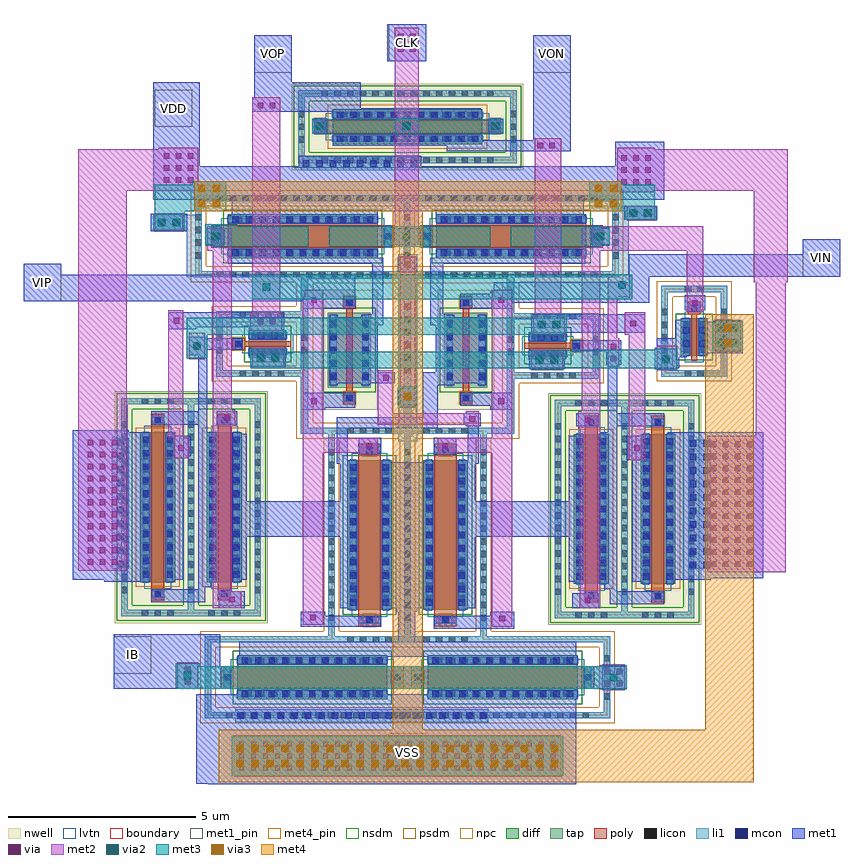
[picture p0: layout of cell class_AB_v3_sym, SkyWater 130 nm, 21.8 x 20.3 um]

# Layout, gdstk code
from math import pi, radians
import gdstk
lib = gdstk.Library(unit=1e-6, precision=1e-09)
def R(c, l, rs):  # rectangles x0, y0, x1, y1
    for r in rs: c.add(gdstk.rectangle(r[:2], r[2:], *l))
def A(c, l, x, y, w, h, nx, ny, dx, dy):  # array of equal rectangles
    R(c, l, [(x+i*dx, y+j*dy, x+i*dx+w, y+j*dy+h) for i in range(nx) for j in range(ny)])
nwell = (64, 20)
diff = (65, 20)
tap = (65, 44)
poly = (66, 20)
licon = (66, 44)
li1 = (67, 20)
mcon = (67, 44)
met1_pin = (68, 16)
met1 = (68, 20)
via = (68, 44)
met2 = (69, 20)
via2 = (69, 44)
met3 = (70, 20)
via3 = (70, 44)
met4_pin = (71, 16)
met4 = (71, 20)
nsdm = (93, 44)
psdm = (94, 20)
npc = (95, 20)
lvtn = (125, 44)
boundary = (235, 4)

sky130_fd_pr__pfet_01v8_ = lib.new_cell('sky130_fd_pr__pfet_01v8_lvt_4QFHB3')
R(sky130_fd_pr__pfet_01v8_, nwell, [(-1.155,-3.095,1.155,3.095)])
R(sky130_fd_pr__pfet_01v8_, diff, [(-0.465,-2,0.465,2)])
R(sky130_fd_pr__pfet_01v8_, tap, [(-0.975,-2.915,0.975,-2.745), (-0.975,-2.745,-0.805,2.745), (0.805,-2.745,0.975,2.745), (-0.975,2.745,0.975,2.915)])
R(sky130_fd_pr__pfet_01v8_, poly, [(-0.175,-2.485,0.175,2.485)])
A(sky130_fd_pr__pfet_01v8_, licon, -0.425, -2.915, 0.17, 0.17, 3, 2, 0.34, 5.66)
A(sky130_fd_pr__pfet_01v8_, licon, -0.975, -2.295, 0.17, 0.17, 1, 14, 0, 0.34)
A(sky130_fd_pr__pfet_01v8_, licon, 0.805, -2.295, 0.17, 0.17, 1, 14, 0, 0.34)
A(sky130_fd_pr__pfet_01v8_, licon, -0.405, -1.785, 0.17, 0.17, 1, 11, 0, 0.34)
A(sky130_fd_pr__pfet_01v8_, licon, 0.235, -1.785, 0.17, 0.17, 1, 11, 0, 0.34)
R(sky130_fd_pr__pfet_01v8_, licon, [(-0.085,-2.405,0.085,-2.235), (-0.085,2.235,0.085,2.405)])
R(sky130_fd_pr__pfet_01v8_, li1, [(-0.975,-2.915,0.975,-2.745), (-0.975,-2.745,-0.805,2.745), (0.805,-2.745,0.975,2.745), (-0.175,-2.405,0.175,-2.235), (-0.405,-2.02,-0.235,2.02), (0.235,-2.02,0.405,2.02), (-0.175,2.235,0.175,2.405), (-0.975,2.745,0.975,2.915)])
A(sky130_fd_pr__pfet_01v8_, mcon, -0.405, -1.885, 0.17, 0.17, 1, 11, 0, 0.36)
A(sky130_fd_pr__pfet_01v8_, mcon, 0.235, -1.885, 0.17, 0.17, 1, 11, 0, 0.36)
R(sky130_fd_pr__pfet_01v8_, mcon, [(-0.085,-2.405,0.085,-2.235), (-0.085,2.235,0.085,2.405)])
R(sky130_fd_pr__pfet_01v8_, met1, [(-0.155,-2.435,0.155,-2.205), (-0.435,-2,-0.205,2), (0.205,-2,0.435,2), (-0.155,2.205,0.155,2.435)])
R(sky130_fd_pr__pfet_01v8_, nsdm, [(-1.1,-3.04,1.1,-2.62), (-1.1,-2.62,-0.68,2.62), (0.68,-2.62,1.1,2.62), (-1.1,2.62,1.1,3.04)])
R(sky130_fd_pr__pfet_01v8_, psdm, [(-0.59,-2.125,0.59,2.125)])
R(sky130_fd_pr__pfet_01v8_, npc, [(-0.185,-2.505,0.185,-2.135), (-0.185,2.135,0.185,2.505)])
R(sky130_fd_pr__pfet_01v8_, lvtn, [(-0.355,-2.18,0.355,2.18)])
R(sky130_fd_pr__pfet_01v8_, boundary, [(-0.89,-2.83,0.89,2.83)])

sky130_fd_pr__nfet_01v8_ = lib.new_cell('sky130_fd_pr__nfet_01v8_lvt_WJMR3R')
R(sky130_fd_pr__nfet_01v8_, diff, [(-0.59,-4.545,0.59,-0.545), (-0.59,0.545,0.59,4.545)])
R(sky130_fd_pr__nfet_01v8_, tap, [(-1.1,-5.415,1.1,-5.245), (-1.1,-5.245,-0.93,5.245), (0.93,-5.245,1.1,5.245), (-1.1,5.245,1.1,5.415)])
R(sky130_fd_pr__nfet_01v8_, poly, [(-0.3,-4.985,0.3,-0.105), (-0.3,0.105,0.3,4.985)])
A(sky130_fd_pr__nfet_01v8_, licon, 0.93, -4.845, 0.17, 0.17, 1, 29, 0, 0.34)
A(sky130_fd_pr__nfet_01v8_, licon, -0.53, -4.33, 0.17, 0.17, 1, 11, 0, 0.34)
A(sky130_fd_pr__nfet_01v8_, licon, 0.36, -4.33, 0.17, 0.17, 1, 11, 0, 0.34)
A(sky130_fd_pr__nfet_01v8_, licon, -0.53, 0.76, 0.17, 0.17, 1, 11, 0, 0.34)
A(sky130_fd_pr__nfet_01v8_, licon, 0.36, 0.76, 0.17, 0.17, 1, 11, 0, 0.34)
A(sky130_fd_pr__nfet_01v8_, licon, -0.595, 5.245, 0.17, 0.17, 4, 1, 0.34, 0)
R(sky130_fd_pr__nfet_01v8_, licon, [(-0.085,-4.905,0.085,-4.735), (-0.085,-0.355,0.085,-0.185), (-0.085,0.185,0.085,0.355), (-0.085,4.735,0.085,4.905)])
R(sky130_fd_pr__nfet_01v8_, li1, [(-1.1,-5.415,1.1,-5.245), (-1.1,-5.245,-0.93,5.245), (0.93,-5.245,1.1,5.245), (-0.3,-4.905,0.3,-4.735), (-0.53,-4.565,-0.36,-0.525), (0.36,-4.565,0.53,-0.525), (-0.3,-0.355,0.3,-0.185), (-0.3,0.185,0.3,0.355), (-0.53,0.525,-0.36,4.565), (0.36,0.525,0.53,4.565), (-0.3,4.735,0.3,4.905), (-1.1,5.245,1.1,5.415)])
A(sky130_fd_pr__nfet_01v8_, mcon, -0.53, -4.43, 0.17, 0.17, 1, 11, 0, 0.36)
A(sky130_fd_pr__nfet_01v8_, mcon, 0.36, -4.43, 0.17, 0.17, 1, 11, 0, 0.36)
A(sky130_fd_pr__nfet_01v8_, mcon, -0.53, 0.66, 0.17, 0.17, 1, 11, 0, 0.36)
A(sky130_fd_pr__nfet_01v8_, mcon, 0.36, 0.66, 0.17, 0.17, 1, 11, 0, 0.36)
R(sky130_fd_pr__nfet_01v8_, mcon, [(-0.085,-4.905,0.085,-4.735), (-0.085,-0.355,0.085,-0.185), (-0.085,0.185,0.085,0.355), (-0.085,4.735,0.085,4.905)])
R(sky130_fd_pr__nfet_01v8_, met1, [(-0.28,-4.935,0.28,-4.705), (-0.56,-4.545,-0.33,-0.545), (0.33,-4.545,0.56,-0.545), (-0.28,-0.385,0.28,-0.155), (-0.28,0.155,0.28,0.385), (-0.56,0.545,-0.33,4.545), (0.33,0.545,0.56,4.545), (-0.28,4.705,0.28,4.935)])
R(sky130_fd_pr__nfet_01v8_, nsdm, [(-0.715,-4.67,0.715,-0.42), (-0.715,0.42,0.715,4.67)])
R(sky130_fd_pr__nfet_01v8_, psdm, [(-1.225,-5.54,1.225,-5.12), (-1.225,-5.12,-0.805,5.12), (0.805,-5.12,1.225,5.12), (-1.225,5.12,1.225,5.54)])
R(sky130_fd_pr__nfet_01v8_, npc, [(-0.185,-5.005,0.185,-4.635), (-0.185,-0.455,0.185,0.455), (-0.185,4.635,0.185,5.005)])
R(sky130_fd_pr__nfet_01v8_, lvtn, [(-0.48,-4.725,0.48,-0.365), (-0.48,0.365,0.48,4.725)])
R(sky130_fd_pr__nfet_01v8_, boundary, [(-1.015,-5.33,1.015,5.33)])

c_sky130_fd_pr__nfet_01v8_ = lib.new_cell('sky130_fd_pr__nfet_01v8_lvt_AWHWK2')
R(c_sky130_fd_pr__nfet_01v8_, diff, [(-0.59,-2,0.59,2)])
R(c_sky130_fd_pr__nfet_01v8_, tap, [(-1.1,-2.87,1.1,-2.7), (-1.1,-2.7,-0.93,2.7), (0.93,-2.7,1.1,2.7), (-1.1,2.7,1.1,2.87)])
R(c_sky130_fd_pr__nfet_01v8_, poly, [(-0.3,-2.44,0.3,2.44)])
A(c_sky130_fd_pr__nfet_01v8_, licon, -0.595, -2.87, 0.17, 0.17, 4, 2, 0.34, 5.57)
A(c_sky130_fd_pr__nfet_01v8_, licon, -1.1, -2.295, 0.17, 0.17, 1, 14, 0, 0.34)
A(c_sky130_fd_pr__nfet_01v8_, licon, 0.93, -2.295, 0.17, 0.17, 1, 14, 0, 0.34)
A(c_sky130_fd_pr__nfet_01v8_, licon, -0.53, -1.785, 0.17, 0.17, 1, 11, 0, 0.34)
A(c_sky130_fd_pr__nfet_01v8_, licon, 0.36, -1.785, 0.17, 0.17, 1, 11, 0, 0.34)
R(c_sky130_fd_pr__nfet_01v8_, licon, [(-0.085,-2.36,0.085,-2.19), (-0.085,2.19,0.085,2.36)])
R(c_sky130_fd_pr__nfet_01v8_, li1, [(-1.1,-2.87,1.1,-2.7), (-1.1,-2.7,-0.93,2.7), (0.93,-2.7,1.1,2.7), (-0.3,-2.36,0.3,-2.19), (-0.53,-2.02,-0.36,2.02), (0.36,-2.02,0.53,2.02), (-0.3,2.19,0.3,2.36), (-1.1,2.7,1.1,2.87)])
A(c_sky130_fd_pr__nfet_01v8_, mcon, -0.53, -1.885, 0.17, 0.17, 1, 11, 0, 0.36)
A(c_sky130_fd_pr__nfet_01v8_, mcon, 0.36, -1.885, 0.17, 0.17, 1, 11, 0, 0.36)
R(c_sky130_fd_pr__nfet_01v8_, mcon, [(-0.085,-2.36,0.085,-2.19), (-0.085,2.19,0.085,2.36)])
R(c_sky130_fd_pr__nfet_01v8_, met1, [(-0.28,-2.39,0.28,-2.16), (-0.56,-2,-0.33,2), (0.33,-2,0.56,2), (-0.28,2.16,0.28,2.39)])
R(c_sky130_fd_pr__nfet_01v8_, nsdm, [(-0.715,-2.125,0.715,2.125)])
R(c_sky130_fd_pr__nfet_01v8_, psdm, [(-1.225,-2.995,1.225,-2.575), (-1.225,-2.575,-0.805,2.575), (0.805,-2.575,1.225,2.575), (-1.225,2.575,1.225,2.995)])
R(c_sky130_fd_pr__nfet_01v8_, npc, [(-0.185,-2.46,0.185,-2.09), (-0.185,2.09,0.185,2.46)])
R(c_sky130_fd_pr__nfet_01v8_, lvtn, [(-0.48,-2.18,0.48,2.18)])
R(c_sky130_fd_pr__nfet_01v8_, boundary, [(-1.01,-2.78,1.01,2.78)])

sky130_fd_pr__cap_var_lv = lib.new_cell('sky130_fd_pr__cap_var_lvt_CYVAFU')
R(sky130_fd_pr__cap_var_lv, nwell, [(-0.755,-1.455,0.755,1.455)])
R(sky130_fd_pr__cap_var_lv, tap, [(-0.575,-1,0.575,1)])
R(sky130_fd_pr__cap_var_lv, poly, [(-0.165,-1.44,0.165,-1.11), (-0.09,-1.11,0.09,1.11), (-0.165,1.11,0.165,1.44)])
A(sky130_fd_pr__cap_var_lv, licon, -0.515, -0.765, 0.17, 0.17, 1, 5, 0, 0.34)
A(sky130_fd_pr__cap_var_lv, licon, 0.345, -0.765, 0.17, 0.17, 1, 5, 0, 0.34)
R(sky130_fd_pr__cap_var_lv, licon, [(-0.085,-1.36,0.085,-1.19), (-0.085,1.19,0.085,1.36)])
R(sky130_fd_pr__cap_var_lv, li1, [(-0.165,-1.36,0.165,-1.19), (-0.515,-0.96,-0.345,0.96), (0.345,-0.96,0.515,0.96), (-0.165,1.19,0.165,1.36)])
A(sky130_fd_pr__cap_var_lv, mcon, -0.515, -0.805, 0.17, 0.17, 1, 5, 0, 0.36)
A(sky130_fd_pr__cap_var_lv, mcon, 0.345, -0.805, 0.17, 0.17, 1, 5, 0, 0.36)
R(sky130_fd_pr__cap_var_lv, mcon, [(-0.085,-1.36,0.085,-1.19), (-0.085,1.19,0.085,1.36)])
R(sky130_fd_pr__cap_var_lv, met1, [(-0.145,-1.39,0.145,-1.16), (-0.545,-0.94,-0.315,-0.88), (0.315,-0.94,0.545,-0.88), (-0.545,-0.88,0.545,0.88), (-0.545,0.88,-0.315,0.94), (0.315,0.88,0.545,0.94), (-0.145,1.16,0.145,1.39)])
R(sky130_fd_pr__cap_var_lv, nsdm, [(-0.7,-1.125,0.7,1.125)])
R(sky130_fd_pr__cap_var_lv, npc, [(-0.185,-1.46,0.185,-1.09), (-0.185,1.09,0.185,1.46)])

c_sky130_fd_pr__nfet_01v8__ = lib.new_cell('sky130_fd_pr__nfet_01v8_lvt_64Z3AY')
R(c_sky130_fd_pr__nfet_01v8__, diff, [(-0.365,-0.655,0.365,0.345)])
R(c_sky130_fd_pr__nfet_01v8__, tap, [(-0.875,-1.215,0.875,-1.045), (-0.875,-1.045,-0.705,1.045), (0.705,-1.045,0.875,1.045), (-0.875,1.045,0.875,1.215)])
R(c_sky130_fd_pr__nfet_01v8__, poly, [(-0.075,-0.785,0.075,0.455), (-0.165,0.455,0.165,0.785)])
A(c_sky130_fd_pr__nfet_01v8__, licon, -0.875, -0.595, 0.17, 0.17, 1, 4, 0, 0.34)
A(c_sky130_fd_pr__nfet_01v8__, licon, 0.705, -0.595, 0.17, 0.17, 1, 4, 0, 0.34)
A(c_sky130_fd_pr__nfet_01v8__, licon, -0.305, -0.58, 0.17, 0.17, 1, 3, 0, 0.34)
A(c_sky130_fd_pr__nfet_01v8__, licon, 0.135, -0.58, 0.17, 0.17, 1, 3, 0, 0.34)
R(c_sky130_fd_pr__nfet_01v8__, licon, [(-0.255,-1.215,-0.085,-1.045), (0.085,-1.215,0.255,-1.045), (-0.085,0.535,0.085,0.705), (-0.255,1.045,-0.085,1.215), (0.085,1.045,0.255,1.215)])
R(c_sky130_fd_pr__nfet_01v8__, li1, [(-0.875,-1.215,0.875,-1.045), (-0.875,-1.045,-0.705,1.045), (0.705,-1.045,0.875,1.045), (-0.305,-0.675,-0.135,0.365), (0.135,-0.675,0.305,0.365), (-0.165,0.535,0.165,0.705), (-0.875,1.045,0.875,1.215)])
R(c_sky130_fd_pr__nfet_01v8__, mcon, [(-0.305,-0.42,-0.135,-0.25), (0.135,-0.42,0.305,-0.25), (-0.305,-0.06,-0.135,0.11), (0.135,-0.06,0.305,0.11), (-0.085,0.535,0.085,0.705)])
R(c_sky130_fd_pr__nfet_01v8__, met1, [(-0.335,-0.655,-0.105,0.345), (0.105,-0.655,0.335,0.345), (-0.145,0.505,0.145,0.735)])
R(c_sky130_fd_pr__nfet_01v8__, nsdm, [(-0.49,-0.78,0.49,0.47)])
R(c_sky130_fd_pr__nfet_01v8__, psdm, [(-1,-1.34,1,-0.92), (-1,-0.92,-0.58,0.92), (0.58,-0.92,1,0.92), (-1,0.92,1,1.34)])
R(c_sky130_fd_pr__nfet_01v8__, npc, [(-0.185,0.435,0.185,0.805)])
R(c_sky130_fd_pr__nfet_01v8__, lvtn, [(-0.255,-0.835,0.255,0.525)])
R(c_sky130_fd_pr__nfet_01v8__, boundary, [(-0.79,-1.13,0.79,1.13)])

class_ab_v3_sym = lib.new_cell('class_AB_v3_sym')
R(class_ab_v3_sym, nwell, [(6.29,-6.3,7.8,-6.165), (9.4,-6.3,10.91,-3.15), (6.3,-6.165,7.8,-3.26), (6.29,-3.255,7.8,-3.15), (6.35,-3.15,7.8,-3.1), (9.4,-3.15,10.85,-3.1)])
R(class_ab_v3_sym, tap, [(5.75,-6.95,6.48,-6.9), (10.71,-6.95,11.45,-6.78), (5.75,-6.9,6.65,-6.8), (5.75,-6.8,6.48,-6.78), (8.5,-6.8,8.7,-2.8), (5.75,-6.78,5.95,-2.8), (11.25,-6.78,11.45,-2.8), (5.75,-2.8,11.45,-2.6)])
A(class_ab_v3_sym, licon, 8.515, -5.335, 0.17, 0.17, 1, 6, 0, 0.34)
R(class_ab_v3_sym, li1, [(4,-14.65,10.75,-14.3), (0.7,-10.55,1.15,-7.05), (16.1,-10.55,16.7,-7.1), (8.35,-7.15,8.85,-2.8), (5.75,-6.95,6.48,-6.9), (10.71,-6.95,11.45,-6.78), (5.75,-6.9,6.65,-6.8), (5.75,-6.8,6.48,-6.78), (5.75,-6.78,5.95,-2.8), (11.25,-6.78,11.45,-2.8), (16.9,-4.7,17.2,-3.95), (5.75,-2.8,11.45,-2.6), (2.7,-2.75,2.95,-1.5), (14.2,-2.7,14.5,-1.25), (8.35,-2.6,8.85,-2.15), (1.8,-1.5,3.05,-1.1), (14.1,-1.25,15.25,-0.85), (5.75,0.1,8.9,0.45)])
A(class_ab_v3_sym, mcon, 4.05, -14.56, 0.17, 0.17, 19, 1, 0.36, 0)
A(class_ab_v3_sym, mcon, 16.135, -10.53, 0.17, 0.17, 1, 10, 0, 0.36)
A(class_ab_v3_sym, mcon, 16.495, -10.53, 0.17, 0.17, 1, 10, 0, 0.36)
A(class_ab_v3_sym, mcon, 0.84, -10.505, 0.17, 0.17, 1, 10, 0, 0.36)
A(class_ab_v3_sym, mcon, 5.8, 0.19, 0.17, 0.17, 9, 1, 0.36, 0)
R(class_ab_v3_sym, mcon, [(8.515,-6.035,8.685,-5.865), (16.965,-4.59,17.135,-4.42), (16.965,-4.23,17.135,-4.06), (8.515,-2.51,8.685,-2.34), (1.96,-1.385,2.13,-1.215), (2.32,-1.385,2.49,-1.215), (14.56,-1.135,14.73,-0.965), (14.92,-1.135,15.09,-0.965)])
R(class_ab_v3_sym, met1_pin, [(0.75,-13.35,1.75,-12.35), (-1.65,-3.4,-0.65,-2.4), (19.15,-2.75,20.15,-1.75), (1.85,1.25,2.85,2.25), (4.5,2.7,5.5,3.7), (11.95,2.7,12.95,3.7), (8.1,3,9.1,4)])
R(class_ab_v3_sym, met1, [(3.26,-16.3,13.1,-16.29), (2.95,-16.29,13.1,-13.9), (0.75,-13.75,3.85,-13.15), (8.25,-13.75,8.95,-13.15), (13.35,-13.75,14.45,-13.15), (0.75,-13.15,3.6,-12.3), (4.1,-13.1,8,-12.9), (9.2,-13.1,13.1,-12.9), (4.1,-12.9,13.1,-12.5), (8.35,-12.5,8.8,-11.7), (9.3,-12.15,11.45,-11.8), (5.75,-12.1,7.9,-11.8), (5.75,-11.8,6.4,-11.7), (10.8,-11.8,11.45,-11.7), (8.3,-11.7,8.85,-11.6), (3.55,-11.6,4.25,-11.15), (6.8,-11.6,7.2,-9.7), (7.95,-11.6,9.25,-7.7), (10,-11.6,10.4,-9.7), (13,-11.6,13.7,-11.2), (14,-11.495,15.45,-11.145), (1.75,-11.45,3.2,-11.1), (14,-11.145,14.2,-11.095), (3,-11.1,3.2,-11.05), (13.85,-11.095,14.2,-10.95), (3,-11.05,3.35,-10.9), (13.7,-10.95,14.2,-10.89), (0.5,-10.9,1.65,-10.85), (3,-10.9,3.4,-6.95), (12.9,-10.9,13.25,-9.7), (14.6,-10.9,15.07,-7.65), (13.7,-10.89,13.73,-7.01), (13.8,-10.89,14.2,-7.01), (-0.35,-10.85,1.65,-6.9), (2.15,-10.85,2.6,-7.6), (3.95,-10.85,4.3,-9.7), (15.55,-10.85,16.7,-10.8), (15.55,-10.8,18.1,-6.9), (3.95,-9.7,7.2,-8.75), (10,-9.7,13.25,-8.75), (3.95,-8.75,4.3,-6.95), (6.8,-8.75,7.2,-7.75), (10,-8.75,10.4,-7.75), (12.9,-8.75,13.25,-7), (6.7,-7.75,7.2,-7.7), (10,-7.75,10.5,-7.7), (6.7,-7.7,7.05,-7.65), (10.15,-7.7,10.5,-7.65), (6.7,-7.65,7,-6.8), (10.2,-7.65,10.5,-6.75), (14.45,-7.65,15.07,-7.6), (2.15,-7.6,2.75,-7.55), (14.45,-7.6,15.05,-7), (2.15,-7.55,2.8,-7.05), (9.3,-7.5,9.9,-7.05), (7.3,-7.45,7.9,-7.05), (2.35,-7.05,2.8,-7), (13.7,-7.01,14.2,-6.95), (3,-6.95,3.35,-6.9), (13.75,-6.95,14.2,-6.9), (-0.35,-6.9,1.15,-6.85), (3,-6.9,3.25,-6.7), (13.95,-6.9,14.2,-6.745), (6.7,-6.8,9.4,-6.5), (10.2,-6.75,10.55,-6.7), (13.1,-6.75,13.7,-6.4), (13.95,-6.745,15.45,-6.395), (1.75,-6.7,3.25,-6.35), (3.5,-6.7,4.05,-6.35), (10.1,-6.7,10.55,-6.4), (9,-6.5,9.4,-5.65), (13.95,-6.395,14.2,-5.1), (3,-6.35,3.25,-4.85), (5.8,-6.3,6.4,-6.25), (10.8,-6.3,11.4,-6.2), (5.8,-6.25,7.2,-5.85), (10,-6.2,11.4,-5.85), (8.34,-6.18,8.86,-5.72), (9,-5.65,9.8,-5.3), (7.4,-5.6,8.25,-5.3), (7.4,-5.3,7.8,-4.05), (9.35,-5.3,9.8,-4.05), (11.85,-5.2,12.8,-4.75), (15.2,-5.2,15.85,-4.9), (4.4,-5.15,5.35,-4.7), (13.9,-5.1,14.3,-4.745), (15.2,-4.9,16.05,-4.85), (2.75,-4.85,3.25,-4.7), (15.2,-4.85,16.1,-4.65), (16.4,-4.8,17.55,-3.95), (13,-4.745,14.3,-4.45), (2.75,-4.7,4.2,-4.4), (15.25,-4.65,16.1,-4.4), (13,-4.45,14.2,-4.445), (2.75,-4.4,3.2,-4.35), (4.4,-4.4,5.1,-4.3), (15.75,-4.4,16.1,-3.9), (11.9,-4.35,12.85,-4.25), (4.4,-4.3,5.3,-4.25), (4.35,-4.25,5.3,-4.1), (11.9,-4.25,14.95,-3.75), (2.2,-4.15,2.95,-4.1), (2.2,-4.1,5.3,-3.7), (7.4,-4.05,7.95,-3.8), (9.2,-4.05,9.8,-3.8), (16.87,-3.95,17.23,-3.89), (7.55,-3.8,7.95,-3.75), (9.2,-3.8,9.65,-3.75), (7.65,-3.75,7.95,-2.4), (9.2,-3.75,9.55,-2.4), (16,-3.65,16.55,-3.25), (5.8,-3.6,7.2,-3.4), (10,-3.6,11.4,-3.45), (10,-3.45,15.05,-3.2), (-1.65,-3.4,7.2,-2.7), (10.8,-3.2,15.05,-3.15), (10.9,-3.15,15.05,-2.9), (14.5,-2.9,15.05,-2.75), (14.5,-2.75,20.15,-2.15), (-1.65,-2.7,-0.65,-2.4), (8.34,-2.63,8.86,-2.22), (3.8,-2.4,7.95,-2.25), (9.2,-2.4,13.35,-2.25), (3.8,-2.25,7.8,-2.05), (9.35,-2.25,13.35,-2.2), (9.4,-2.2,13.35,-2.05), (19.15,-2.15,20.15,-1.75), (3.2,-1.9,3.7,-1.45), (8,-1.9,9.2,-1.45), (13.5,-1.9,14,-1.45), (1.74,-1.53,2.71,-1.07), (3.9,-1.3,7.8,-1), (9.35,-1.3,13.3,-1), (14.39,-1.23,15.26,-0.87), (3.9,-1,13.3,-0.7), (1.8,-0.7,15.45,0.2), (1.8,0.2,3.05,2.45), (5.69,0.2,8.96,0.48), (14.15,0.2,15.45,0.85), (9.65,0.6,12.95,0.75), (6.6,0.75,12.95,0.9), (6.6,0.9,10.55,1.05), (11.95,0.9,12.95,3.7), (6.05,1.1,6.45,1.45), (10.75,1.1,11.15,1.45), (6.6,1.5,10.55,1.65), (4.45,1.65,10.55,1.75), (4.45,1.75,7.35,2), (4.5,2,7.35,2.45), (4.5,2.45,5.5,3.7), (8.05,3,9.1,4)])
A(class_ab_v3_sym, via, 4.09, -15.945, 0.15, 0.15, 27, 3, 0.32, 0.32)
A(class_ab_v3_sym, via, 16.695, -10.5, 0.15, 0.15, 4, 11, 0.32, 0.32)
A(class_ab_v3_sym, via, 0.055, -10.45, 0.15, 0.15, 3, 11, 0.32, 0.32)
A(class_ab_v3_sym, via, 14.305, -0.295, 0.15, 0.15, 3, 3, 0.32, 0.32)
A(class_ab_v3_sym, via, 2.08, -0.245, 0.15, 0.15, 3, 3, 0.32, 0.32)
R(class_ab_v3_sym, via, [(13.865,-13.685,14.015,-13.535), (14.185,-13.685,14.335,-13.535), (2.65,-13.635,2.8,-13.485), (13.865,-13.365,14.015,-13.215), (14.185,-13.365,14.335,-13.215), (2.65,-13.315,2.8,-13.165), (11.05,-11.95,11.2,-11.8), (6,-11.925,6.15,-11.775), (13.325,-11.475,13.475,-11.325), (3.825,-11.45,3.975,-11.3), (2.475,-7.4,2.625,-7.25), (14.65,-7.4,14.8,-7.25), (7.5,-7.35,7.65,-7.2), (9.525,-7.35,9.675,-7.2), (13.325,-6.65,13.475,-6.5), (10.25,-6.625,10.4,-6.475), (3.7,-6.6,3.85,-6.45), (6.025,-6.15,6.175,-6), (11.025,-6.15,11.175,-6), (8.525,-6.025,8.675,-5.875), (7.95,-5.525,8.1,-5.375), (12.09,-5.05,12.24,-4.9), (12.41,-5.05,12.56,-4.9), (14.025,-5.01,14.175,-4.86), (4.64,-5,4.79,-4.85), (4.96,-5,5.11,-4.85), (15.45,-5,15.6,-4.85), (14.025,-4.69,14.175,-4.54), (2.9,-4.675,3.05,-4.525), (16.915,-4.56,17.065,-4.41), (17.235,-4.56,17.385,-4.41), (16.915,-4.24,17.065,-4.09), (17.235,-4.24,17.385,-4.09), (12.14,-4.1,12.29,-3.95), (12.46,-4.1,12.61,-3.95), (14.55,-4.075,14.7,-3.925), (4.59,-4.025,4.74,-3.875), (4.91,-4.025,5.06,-3.875), (2.35,-4,2.5,-3.85), (16.2,-3.525,16.35,-3.375), (6.025,-3.45,6.175,-3.3), (11.025,-3.45,11.175,-3.3), (8.525,-2.5,8.675,-2.35), (3.375,-1.75,3.525,-1.6), (8.5,-1.75,8.65,-1.6), (13.675,-1.75,13.825,-1.6), (1.99,-1.375,2.14,-1.225), (2.31,-1.375,2.46,-1.225), (14.59,-1.125,14.74,-0.975), (14.91,-1.125,15.06,-0.975), (12.065,0.675,12.215,0.825), (12.385,0.675,12.535,0.825), (6.175,1.2,6.325,1.35), (10.875,1.2,11.025,1.35), (4.59,1.75,4.74,1.9), (4.91,1.75,5.06,1.9), (8.34,3.265,8.49,3.415), (8.66,3.265,8.81,3.415), (8.34,3.585,8.49,3.735), (8.66,3.585,8.81,3.735)])
R(class_ab_v3_sym, met2, [(3.95,-16.1,12.7,-15), (13.8,-13.8,14.4,-13.1), (2.45,-13.75,3,-13.05), (10.85,-12.1,11.4,-7.45), (5.8,-12.05,6.35,-7.45), (3.4,-11.6,4.15,-11.15), (13.2,-11.6,13.75,-6.8), (3.4,-11.15,3.9,-6.75), (16.6,-10.65,18.7,-7), (-0.2,-10.6,1.1,-0.45), (14.5,-7.65,14.95,-4.3), (2.35,-7.6,2.75,-7.05), (7.35,-7.5,7.8,-7.45), (9.4,-7.5,9.8,-7.45), (5.8,-7.45,7.8,-7.05), (9.4,-7.45,11.4,-7.05), (2.2,-7.05,2.6,-3.65), (5.8,-7.05,6.35,-3.3), (10.85,-7.05,11.4,-3.1), (17.9,-7,18.7,-2.9), (13.15,-6.8,13.75,-6.35), (3.4,-6.75,4,-6.3), (10.15,-6.75,10.5,-6.7), (7.8,-6.7,10.5,-6.4), (7.8,-6.4,8.2,-5.25), (10.15,-6.4,10.5,-6.35), (13.25,-6.35,13.75,-2.05), (3.4,-6.3,3.9,-2.05), (8.4,-6.25,8.8,-2.2), (11.9,-5.25,12.75,-4.7), (15.25,-5.25,15.8,-4.6), (4.45,-5.2,5.3,-4.65), (13.95,-5.15,14.25,-4.4), (2.75,-4.95,3.2,-4.25), (16.8,-4.75,17.5,-3.9), (13.95,-4.4,14.2,-3.3), (11.95,-4.3,12.8,-3.75), (14.4,-4.3,14.95,-3.7), (4.4,-4.2,5.25,-3.7), (12,-3.75,12.7,0.95), (4.45,-3.7,5.2,2.05), (16.05,-3.7,16.5,-2.05), (5.85,-3.3,6.35,-3.1), (13.95,-3.3,14.55,-2.75), (17.85,-2.9,18.75,-0.45), (14.05,-2.75,14.55,-2.7), (3.25,-2.05,3.9,-1.45), (13.25,-2.05,16.5,-1.4), (8.35,-1.95,8.8,-1.9), (8.25,-1.9,8.9,3.9), (1.85,-1.55,2.6,-1.05), (3.25,-1.45,3.4,-1.4), (14.45,-1.25,15.2,-0.85), (14.2,-0.5,15.2,-0.45), (-0.2,-0.45,3,0.65), (14.2,-0.45,18.75,0.65), (1.95,0.65,3,0.7), (14.2,0.65,15.2,0.7), (6.1,1.05,6.4,1.5), (10.8,1.05,11.1,1.5)])
A(class_ab_v3_sym, via2, 4.025, -15.85, 0.2, 0.2, 22, 2, 0.4, 0.4)
R(class_ab_v3_sym, via2, [(14,-13.55,14.2,-13.35), (2.625,-13.5,2.825,-13.3), (8.5,-6.05,8.7,-5.85), (12.025,-5.075,12.225,-4.875), (12.425,-5.075,12.625,-4.875), (15.4,-5.05,15.6,-4.85), (4.575,-5.025,4.775,-4.825), (4.975,-5.025,5.175,-4.825), (2.875,-4.7,3.075,-4.5), (16.85,-4.625,17.05,-4.425), (17.25,-4.625,17.45,-4.425), (16.85,-4.225,17.05,-4.025), (17.25,-4.225,17.45,-4.025), (12.075,-4.125,12.275,-3.925), (12.475,-4.125,12.675,-3.925), (4.725,-3.125,4.925,-2.925), (14.225,-3.075,14.425,-2.875), (3.35,-1.775,3.55,-1.575), (8.475,-1.775,8.675,-1.575), (13.65,-1.775,13.85,-1.575), (1.925,-1.4,2.125,-1.2), (2.325,-1.4,2.525,-1.2), (14.525,-1.15,14.725,-0.95), (14.925,-1.15,15.125,-0.95), (6.15,1.175,6.35,1.375), (8.475,1.175,8.675,1.375), (10.85,1.175,11.05,1.375)])
R(class_ab_v3_sym, met3, [(3.9,-16.075,12.75,-15.025), (13.75,-13.775,14.45,-13.75), (2.45,-13.75,14.45,-13.725), (2.4,-13.725,14.45,-13.15), (2.4,-13.15,3.05,-13.075), (13.75,-13.15,14.45,-13.125), (8.35,-6.225,8.85,-5.675), (11.85,-5.225,12.8,-5.2), (15.2,-5.225,15.8,-5.2), (4.4,-5.2,15.8,-4.75), (2.7,-4.925,3.25,-4.3), (4.4,-4.75,5.35,-4.675), (11.85,-4.75,15.8,-4.725), (12.35,-4.725,15.8,-4.7), (16.75,-4.725,17.55,-3.925), (15.2,-4.7,15.8,-4.675), (2.7,-4.3,12.75,-4.275), (2.7,-4.275,12.85,-3.85), (11.9,-3.85,12.85,-3.75), (4.45,-3.35,14.6,-2.7), (3.45,-1.95,5.95,-1.925), (6.5,-1.95,10.8,-1.4), (11.35,-1.95,13.75,-1.925), (3.2,-1.925,5.95,-1.4), (11.35,-1.925,14,-1.425), (1.8,-1.525,2.65,-1.075), (11.35,-1.425,13.75,-1.4), (3.2,-1.4,4.05,-1.35), (14.4,-1.225,15.25,-1), (1.85,-1.075,2.65,-1), (1.85,-1,3.75,-0.3), (13.45,-1,15.25,-0.875), (13.45,-0.875,15.2,-0.3), (2.85,-0.3,3.75,-0.2), (13.45,-0.3,14.35,-0.2), (6.1,1.05,11.05,1.075), (6.05,1.075,11.15,1.45), (6.05,1.45,6.45,1.475), (8.3,1.45,8.85,1.475), (10.75,1.45,11.15,1.475)])
A(class_ab_v3_sym, via3, 4.025, -15.85, 0.2, 0.2, 22, 2, 0.4, 0.4)
R(class_ab_v3_sym, via3, [(8.5,-6.05,8.7,-5.85), (17.05,-4.625,17.25,-4.425), (17.05,-4.225,17.25,-4.025), (3,-0.9,3.2,-0.7), (3.4,-0.9,3.6,-0.7), (13.6,-0.9,13.8,-0.7), (14,-0.9,14.2,-0.7), (3,-0.5,3.2,-0.3), (3.4,-0.5,3.6,-0.3), (13.6,-0.5,13.8,-0.3), (14,-0.5,14.2,-0.3)])
R(class_ab_v3_sym, met4_pin, [(8.1,-15.95,9.1,-14.95)])
R(class_ab_v3_sym, met4, [(3.55,-16.25,17.85,-14.85), (8.2,-14.85,9,-1), (16.55,-14.85,17.85,-3.75), (2.895,-1.005,3.705,-1), (13.495,-1.005,14.305,-1), (2.895,-1,14.305,-0.2), (2.895,-0.2,3.705,-0.195), (13.495,-0.2,14.305,-0.195)])
R(class_ab_v3_sym, psdm, [(5.625,-7.075,6.605,-7.025), (10.585,-7.075,11.575,-6.655), (5.625,-7.025,6.775,-6.675), (8.375,-6.925,8.825,-2.925), (5.625,-6.675,6.605,-6.655), (5.625,-6.655,6.075,-2.925), (11.125,-6.655,11.575,-2.925), (5.625,-2.925,11.575,-2.475)])
class_ab_v3_sym.add(gdstk.Reference(sky130_fd_pr__pfet_01v8_, (15.285,-8.955)))
class_ab_v3_sym.add(gdstk.Reference(sky130_fd_pr__pfet_01v8_, (1.925,-8.905)))
class_ab_v3_sym.add(gdstk.Reference(sky130_fd_pr__pfet_01v8_, (13.505,-8.955), rotation=pi))
class_ab_v3_sym.add(gdstk.Reference(sky130_fd_pr__nfet_01v8_, (8.595,-13.45), rotation=3*pi/2))
class_ab_v3_sym.add(gdstk.Reference(sky130_fd_pr__pfet_01v8_, (3.705,-8.905), rotation=pi))
class_ab_v3_sym.add(gdstk.Reference(c_sky130_fd_pr__nfet_01v8_, (9.61,-9.65)))
class_ab_v3_sym.add(gdstk.Reference(c_sky130_fd_pr__nfet_01v8_, (7.58,-9.65)))
class_ab_v3_sym.add(gdstk.Reference(sky130_fd_pr__cap_var_lv, (7.045,-4.71)))
class_ab_v3_sym.add(gdstk.Reference(sky130_fd_pr__cap_var_lv, (10.155,-4.71)))
class_ab_v3_sym.add(gdstk.Reference(c_sky130_fd_pr__nfet_01v8__, (16.255,-4.205)))
class_ab_v3_sym.add(gdstk.Reference(c_sky130_fd_pr__nfet_01v8_, (11.37,-1.67), rotation=3*pi/2))
class_ab_v3_sym.add(gdstk.Reference(c_sky130_fd_pr__nfet_01v8_, (5.8,-1.67), rotation=3*pi/2))
class_ab_v3_sym.add(gdstk.Reference(c_sky130_fd_pr__nfet_01v8__, (4.705,-4.545), rotation=pi/2))
class_ab_v3_sym.add(gdstk.Reference(c_sky130_fd_pr__nfet_01v8__, (12.495,-4.595), rotation=3*pi/2))
class_ab_v3_sym.add(gdstk.Reference(sky130_fd_pr__pfet_01v8_, (8.595,1.255), rotation=3*pi/2))
class_ab_v3_sym.add(gdstk.Label('VDD', (2.35,1.75), layer=68, texttype=5))
class_ab_v3_sym.add(gdstk.Label('VOP', (5,3.2), layer=68, texttype=5))
class_ab_v3_sym.add(gdstk.Label('VON', (12.45,3.2), layer=68, texttype=5))
class_ab_v3_sym.add(gdstk.Label('VIN', (19.65,-2.25), layer=68, texttype=5))
class_ab_v3_sym.add(gdstk.Label('VIP', (-1.15,-2.9), layer=68, texttype=5))
class_ab_v3_sym.add(gdstk.Label('IB', (1.25,-12.85), layer=68, texttype=5))
class_ab_v3_sym.add(gdstk.Label('CLK', (8.6,3.5), layer=68, texttype=5))
class_ab_v3_sym.add(gdstk.Label('VSS', (8.6,-15.45), layer=71, texttype=5))

lib.write_gds('class_AB_v3_sym.gds')
